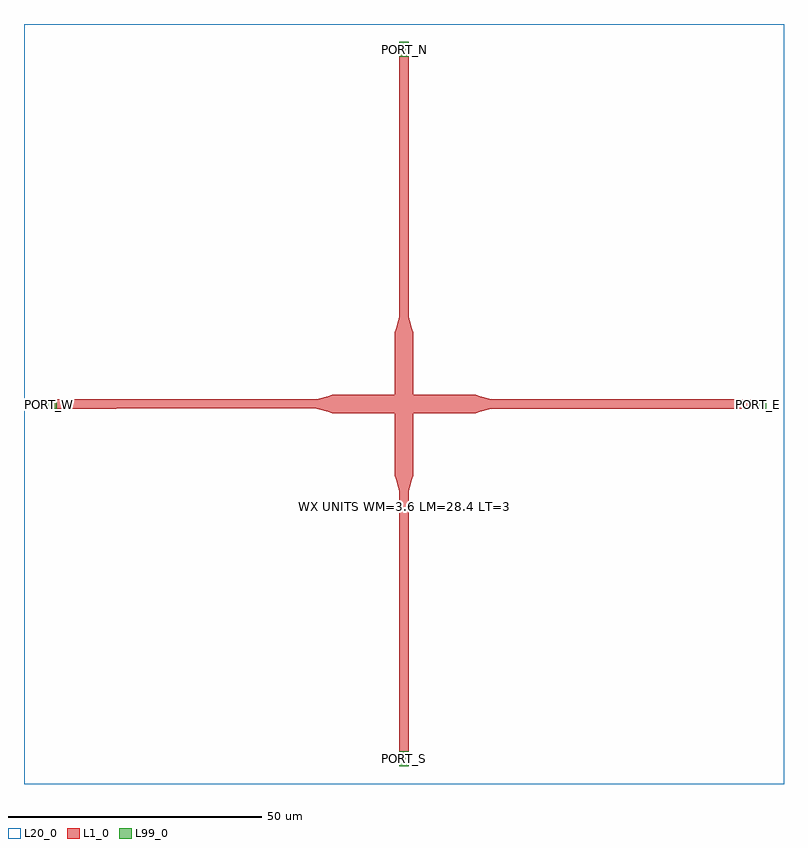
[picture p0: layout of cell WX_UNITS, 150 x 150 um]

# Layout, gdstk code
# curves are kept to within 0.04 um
import gdstk
lib = gdstk.Library(unit=1e-6, precision=1e-09)
def R(c, l, rs):  # rectangles x0, y0, x1, y1
    for r in rs: c.add(gdstk.rectangle(r[:2], r[2:], *l))
def P(c, l, *ps):  # polygons
    for p in ps: c.add(gdstk.Polygon(p, *l))
L1_0 = (1, 0)
L20_0 = (20, 0)
L99_0 = (99, 0)

wx_units = lib.new_cell('WX_UNITS')
P(wx_units, L1_0, [(-56.8,-0.9),(-17.2,-0.9),(-14.2,-1.8),(14.2,-1.8),(17.2,-0.9),(70,-0.9),(70,0.9),(17.2,0.9),(14.2,1.8),(-14.2,1.8),(-17.2,0.9),(-70,0.9),(-70,-0.9)],
  [(0.9,-56.8),(0.9,-17.2),(1.8,-14.2),(1.8,14.2),(0.9,17.2),(0.9,70),(-0.9,70),(-0.9,17.2),(-1.8,14.2),(-1.8,-14.2),(-0.9,-17.2),(-0.9,-70),(0.9,-70)])
R(wx_units, L20_0, [(-75,-75,75,75)])
R(wx_units, L99_0, [(-0.9,-71.5,0.9,-68.5), (-71.5,-0.9,-68.5,0.9), (68.5,-0.9,71.5,0.9), (-0.9,68.5,0.9,71.5)])
wx_units.add(gdstk.Label('PORT_W', (-70,0), layer=100, texttype=0))
wx_units.add(gdstk.Label('PORT_E', (70,0), layer=100, texttype=0))
wx_units.add(gdstk.Label('PORT_S', (0,-70), layer=100, texttype=0))
wx_units.add(gdstk.Label('PORT_N', (0,70), layer=100, texttype=0))
wx_units.add(gdstk.Label('WX UNITS WM=3.6 LM=28.4 LT=3.0 w_in=1.8', (0,-20.2), layer=100, texttype=0))

lib.write_gds('WX_UNITS.gds')
